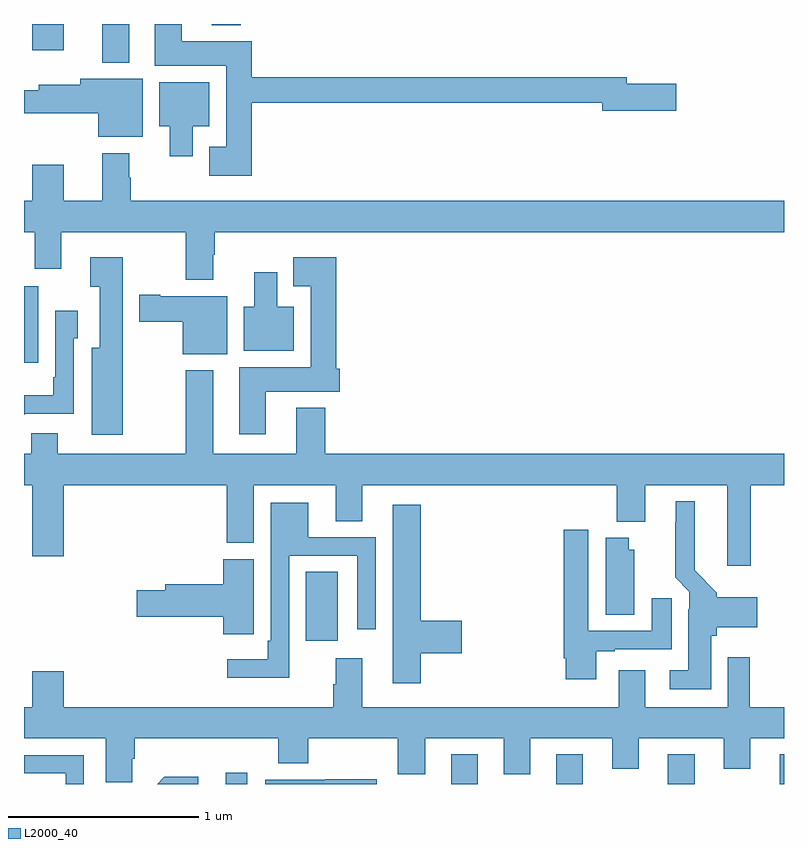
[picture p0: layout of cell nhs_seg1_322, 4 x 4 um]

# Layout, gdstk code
import gdstk
lib = gdstk.Library(unit=1e-6, precision=1e-09)
def R(c, l, rs):  # rectangles x0, y0, x1, y1
    for r in rs: c.add(gdstk.rectangle(r[:2], r[2:], *l))
def P(c, l, *ps):  # polygons
    for p in ps: c.add(gdstk.Polygon(p, *l))
L2000_40 = (2000, 40)

nhs_seg1_322 = lib.new_cell('nhs_seg1_322')
R(nhs_seg1_322, L2000_40, [(130.061,510.199,130.176,510.259), (131.249,510.199,131.389,510.355), (131.801,510.199,131.941,510.355), (132.389,510.199,132.529,510.355), (132.977,510.199,133,510.355), (130.484,510.954,130.651,511.316), (129,512.415,129.076,512.819), (129.413,513.995,129.553,514.199), (129.044,514.062,129.208,514.199), (129.989,514.193,130.142,514.199)])
P(nhs_seg1_322, L2000_40, [(130.199,513.784),(132.044,513.784),(132.044,513.742),(132.433,513.742),(132.433,513.884),(132.172,513.884),(132.172,513.92),(130.199,513.92),(130.199,514.108),(129.829,514.108),(129.829,514.199),(129.689,514.199),(129.689,513.98),(130.064,513.98),(130.064,513.553),(129.974,513.553),(129.974,513.401),(130.199,513.401)],
  [(129.625,513.91),(129.296,513.91),(129.296,513.88),(129.077,513.88),(129.077,513.85),(129,513.85),(129,513.728),(129.392,513.728),(129.392,513.605),(129.625,513.605)],
  [(129.889,513.662),(129.976,513.662),(129.976,513.892),(129.713,513.892),(129.713,513.662),(129.767,513.662),(129.767,513.504),(129.889,513.504)],
  [(129.997,512.984),(130.005,512.984),(130.005,513.104),(133,513.104),(133,513.268),(129.561,513.268),(129.561,513.389),(129.553,513.389),(129.553,513.52),(129.413,513.52),(129.413,513.268),(129.208,513.268),(129.208,513.457),(129.044,513.457),(129.044,513.268),(129,513.268),(129,513.104),(129.056,513.104),(129.056,512.91),(129.196,512.91),(129.196,513.104),(129.85,513.104),(129.85,512.852),(129.997,512.852)],
  [(130.273,512.264),(130.661,512.264),(130.661,512.385),(130.643,512.385),(130.643,512.971),(130.418,512.971),(130.418,512.819),(130.508,512.819),(130.508,512.392),(130.133,512.392),(130.133,512.04),(130.273,512.04)],
  [(129.52,512.971),(129.348,512.971),(129.348,512.815),(129.398,512.815),(129.398,512.494),(129.356,512.494),(129.356,512.037),(129.52,512.037)],
  [(130.42,512.71),(130.333,512.71),(130.333,512.893),(130.211,512.893),(130.211,512.71),(130.157,512.71),(130.157,512.48),(130.42,512.48)],
  [(130.069,512.767),(129.718,512.767),(129.718,512.775),(129.606,512.775),(129.606,512.633),(129.836,512.633),(129.836,512.462),(130.069,512.462)],
  [(129.006,512.148),(129.261,512.148),(129.261,512.544),(129.282,512.544),(129.282,512.689),(129.165,512.689),(129.165,512.341),(129.153,512.341),(129.153,512.245),(129,512.245),(129,512.142)],
  [(130.433,512.179),(130.433,511.936),(129.997,511.936),(129.997,512.377),(129.85,512.377),(129.85,511.936),(129.178,511.936),(129.178,512.046),(129.039,512.046),(129.039,511.936),(129,511.936),(129,511.772),(129.044,511.772),(129.044,511.398),(129.208,511.398),(129.208,511.772),(130.067,511.772),(130.067,511.468),(130.21,511.468),(130.21,511.772),(130.64,511.772),(130.64,511.582),(130.78,511.582),(130.78,511.772),(132.119,511.772),(132.119,511.58),(132.271,511.58),(132.271,511.772),(132.701,511.772),(132.701,511.347),(132.824,511.347),(132.824,511.772),(133,511.772),(133,511.936),(130.586,511.936),(130.586,512.179)],
  [(132.616,510.978),(132.647,510.978),(132.647,511.025),(132.859,511.025),(132.859,511.183),(132.647,511.183),(132.647,511.206),(132.529,511.324),(132.529,511.687),(132.431,511.687),(132.431,511.577),(132.427,511.577),(132.427,511.286),(132.501,511.212),(132.501,511.118),(132.497,511.118),(132.497,510.799),(132.399,510.799),(132.399,510.698),(132.616,510.698)],
  [(130.395,511.401),(130.755,511.401),(130.755,511.014),(130.851,511.014),(130.851,511.497),(130.495,511.497),(130.495,511.678),(130.299,511.678),(130.299,510.952),(130.283,510.952),(130.283,510.856),(130.071,510.856),(130.071,510.758),(130.395,510.758)],
  [(131.087,510.887),(131.305,510.887),(131.305,511.058),(131.087,511.058),(131.087,511.669),(130.94,511.669),(130.94,510.729),(131.087,510.729)],
  [(132.013,510.897),(132.109,510.897),(132.109,510.909),(132.409,510.909),(132.409,511.177),(132.305,511.177),(132.305,511.005),(131.971,511.005),(131.971,511.537),(131.84,511.537),(131.84,510.862),(131.852,510.862),(131.852,510.75),(132.013,510.75)],
  [(132.211,511.431),(132.184,511.431),(132.184,511.495),(132.062,511.495),(132.062,511.09),(132.211,511.09)],
  [(130.209,511.099),(130.21,511.099),(130.21,511.383),(130.049,511.383),(130.049,511.25),(129.743,511.25),(129.743,511.22),(129.594,511.22),(129.594,511.078),(130.049,511.078),(130.049,510.987),(130.209,510.987)],
  [(129.57,510.331),(129.584,510.331),(129.584,510.44),(130.337,510.44),(130.337,510.307),(130.497,510.307),(130.497,510.44),(130.966,510.44),(130.966,510.25),(131.113,510.25),(131.113,510.44),(131.525,510.44),(131.525,510.25),(131.665,510.25),(131.665,510.44),(132.095,510.44),(132.095,510.28),(132.235,510.28),(132.235,510.44),(132.683,510.44),(132.683,510.28),(132.823,510.28),(132.823,510.44),(133,510.44),(133,510.604),(132.821,510.604),(132.821,510.865),(132.705,510.865),(132.705,510.604),(132.271,510.604),(132.271,510.799),(132.131,510.799),(132.131,510.604),(130.78,510.604),(130.78,510.862),(130.64,510.862),(130.64,510.725),(130.628,510.725),(130.628,510.604),(129.208,510.604),(129.208,510.793),(129.044,510.793),(129.044,510.604),(129,510.604),(129,510.44),(129.431,510.44),(129.431,510.208),(129.57,510.208)],
  [(129.315,510.351),(129,510.351),(129,510.255),(129.219,510.255),(129.219,510.199),(129.315,510.199)],
  [(129.916,510.236),(129.737,510.236),(129.7,510.199),(129.916,510.199)],
  [(130.857,510.224),(130.585,510.224),(130.585,510.222),(130.269,510.222),(130.269,510.199),(130.857,510.199)])

lib.write_gds('nhs_seg1_322.gds')
